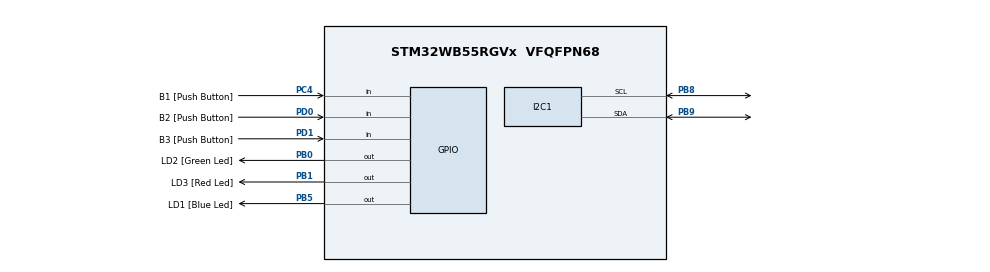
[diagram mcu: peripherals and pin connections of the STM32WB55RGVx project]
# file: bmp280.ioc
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I2C1.Timing=0x00B07CB4
Mcu.Family=STM32WB
Mcu.Name=STM32WB55RGVx
Mcu.Package=VFQFPN68
NUCLEO-WB55RG.VCP=false
NVIC.PriorityGroup=NVIC_PRIORITYGROUP_4
OSC_IN.GPIO_Label=RCC_OSC_IN
OSC_IN.Signal=RCC_OSC_IN
OSC_OUT.GPIO_Label=RCC_OSC_OUT
OSC_OUT.Signal=RCC_OSC_OUT
PA11.GPIO_Label=USB_DM
PA11.Signal=USB_DM
PA12.GPIO_Label=USB_DP
PA12.Signal=USB_DP
PA13.GPIO_Label=JTMS
PA13.Signal=SYS_JTMS-SWDIO
PA14.GPIO_Label=JTCK
PA14.Signal=SYS_JTCK-SWCLK
PB0.GPIO_Label=LD2 [Green Led]
PB0.GPIO_PuPd=GPIO_NOPULL
PB0.Signal=GPIO_Output
PB1.GPIO_Label=LD3 [Red Led]
PB1.Signal=GPIO_Output
PB3.GPIO_Label=JTDO
PB3.Signal=SYS_JTDO-SWO
PB5.GPIO_Label=LD1 [Blue Led]
PB5.Signal=GPIO_Output
PB8.Mode=I2C
PB8.Signal=I2C1_SCL
PB9.Mode=I2C
PB9.Signal=I2C1_SDA
PC13.GPIO_Label=SYS_WKUP2
PC13.Signal=SYS_WKUP2
PC14-OSC32_IN.GPIO_Label=RCC_OSC32_IN
PC14-OSC32_IN.Signal=RCC_OSC32_IN
PC15-OSC32_OUT.GPIO_Label=RCC_OSC32_OUT
PC15-OSC32_OUT.Signal=RCC_OSC32_OUT
PC4.GPIO_Label=B1 [Push Button]
PC4.Signal=GPIO_Input
PD0.GPIO_Label=B2 [Push Button]
PD0.Signal=GPIO_Input
PD1.GPIO_Label=B3 [Push Button]
PD1.Signal=GPIO_Input
ProjectManager.HeapSize=0x200
ProjectManager.StackSize=0x400
ProjectManager.TargetToolchain=STM32CubeIDE
RCC.ADCFreq_Value=128000000
RCC.AHBFreq_Value=32000000
RCC.APB1Freq_Value=32000000
RCC.APB1TimFreq_Value=32000000
RCC.APB2Freq_Value=32000000
RCC.APB2TimFreq_Value=32000000
RCC.APB3Freq_Value=16000000
RCC.CortexFreq_Value=32000000
RCC.HCLKFreq_Value=32000000
RCC.HSE_VALUE=32000000
RCC.HSI48_VALUE=48000000
RCC.HSI_VALUE=16000000
RCC.LSE_VALUE=32768
RCC.MSIClockRange=RCC_MSIRANGE_10
RCC.SMPSCLockSelection=RCC_SMPSCLKSOURCE_HSI
RCC.SMPSCLockSelectionVirtual=RCC_SMPSCLKSOURCE_HSI
RCC.SMPSCLockSelectionVirtualVirtual=RCC_SMPSCLKSOURCE_HSI
RCC.SMPSDivider=1
RCC.SYSCLKFreq_VALUE=32000000
RCC.USBFreq_Value=128000000
RCC.VCOOutputFreq_Value=256000000
VP_MEMORYMAP_VS_MEMORYMAP.Mode=CurAppReg
VP_NUCLEO-WB55RG_VS_BSP_COMMON.Mode=COMMON
board=NUCLEO-WB55RG

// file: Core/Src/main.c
/* USER CODE BEGIN Header */
/**
  ******************************************************************************
  * @file           : main.c
  * @brief          : Main program body
  ******************************************************************************
  * @attention
  *
  * Copyright (c) 2025 STMicroelectronics.
  * All rights reserved.
  *
  * This software is licensed under terms that can be found in the LICENSE file
  * in the root directory of this software component.
  * If no LICENSE file comes with this software, it is provided AS-IS.
  *
  ******************************************************************************
  */
/* USER CODE END Header */
#include "main.h"

/* USER CODE BEGIN PD */
#define  DEVICE_ADDRESS_L (0x76 << 1)
#define  DEVICE_ADDRESS_H (0x76 << 1)

#define temp_xlsb 0xFC
#define temp_lsb 0xFB
#define temp_msb 0xFA

#define press_xslb 0xF9
#define press_lsb 0xF8
#define press_msb 0xF7

#define config 0xF5
#define ctrl_meas 0xF4

#define status 0xF3
#define reset 0xE0
#define id 0xD0

#define cal25 0xA1
#define cal24 0xA0
#define cal23 0x9F
#define cal22 0x9E
#define cal21 0x9D
#define cal20 0x9C
#define cal19 0x9B
#define cal18 0x9A
#define cal17 0x99
#define cal16 0x98
#define cal15 0x97
#define cal14 0x96
#define cal13 0x95
#define cal12 0x94
#define cal11 0x93
#define cal10 0x92
#define cal09 0x91
#define cal08 0x90
#define cal07 0x8F
#define cal06 0x8E
#define cal05 0x8D
#define cal04 0x8C
#define cal03 0x8B
#define cal02 0x8A
#define cal01 0x89
#define cal00 0x88
/* USER CODE END PD */

I2C_HandleTypeDef hi2c1;

void SystemClock_Config(void);
void PeriphCommonClock_Config(void);
static void MX_GPIO_Init(void);
static void MX_I2C1_Init(void);

int main(void)
{

  /* MCU Configuration--------------------------------------------------------*/

  /* Reset of all peripherals, Initializes the Flash interface and the Systick. */
  HAL_Init();

  /* Configure the system clock */
  SystemClock_Config();

  /* Configure the peripherals common clocks */
  PeriphCommonClock_Config();

  /* Initialize all configured peripherals */
  MX_GPIO_Init();
  MX_I2C1_Init();

  /* Infinite loop */
  /* USER CODE BEGIN WHILE */
  uint8_t chipID = 0;

  //HAL_I2C_Mem_Read(&hi2c1, DEVICE_ADDRESS_L, id, 1, &chipID, 1, 1000);
  uint8_t BMP280_Config[2]={0xB3,0xA0};
  //I2C_Write_Register(DEVICE_ADDRESS_L, 0xF5, 0b10010000);
  HAL_I2C_Mem_Write(&hi2c1, DEVICE_ADDRESS_L,ctrl_meas,1,BMP280_Config,2,0x10000);
  //I2C_Write_Register(DEVICE_ADDRESS_L, 0xF4, 0b01010111);
  //HAL_I2C_Master_Transmit(&hi2c1, DEVICE_ADDRESS_L,config , 3, 500);
  //status=HAL_I2C_Mem_Read(&hi2c1,DEVICE_ADDRESS_L,ctrl_meas,1,BMP280_Config,2,0x10000);

  uint8_t data[2]  = {0,0};
  while (1)
  {

    /* USER CODE END WHILE */

    /* USER CODE BEGIN 3 */
	HAL_Delay(50);
	//HAL_I2C_Mem_Read(&hi2c1, BMP280_Address, 0xF7, 1, &BMP280_Data[0], 7, 500);
	//HAL_I2C_Master_Transmit(&hi2c1, DEVICE_ADDRESS_L,temp_msb , 1, 500);
	unsigned char data_address = 0xFA;
	HAL_I2C_Master_Transmit(&hi2c1, DEVICE_ADDRESS_L,&data_address , 1, 500);
	//HAL_I2C_Master_Receive_IT(&hi2c1, DEVICE_ADDRESS_L, data, 2); // with interrupt
	HAL_I2C_Master_Receive(&hi2c1, DEVICE_ADDRESS_L|0x01, data, 2,500);
  }
  /* USER CODE END 3 */
}

void SystemClock_Config(void)
{
  RCC_OscInitTypeDef RCC_OscInitStruct = {0};
  RCC_ClkInitTypeDef RCC_ClkInitStruct = {0};

  /** Configure the main internal regulator output voltage
  */
  __HAL_PWR_VOLTAGESCALING_CONFIG(PWR_REGULATOR_VOLTAGE_SCALE1);

  /** Initializes the RCC Oscillators according to the specified parameters
  * in the RCC_OscInitTypeDef structure.
  */
  RCC_OscInitStruct.OscillatorType = RCC_OSCILLATORTYPE_HSI|RCC_OSCILLATORTYPE_MSI;
  RCC_OscInitStruct.HSIState = RCC_HSI_ON;
  RCC_OscInitStruct.MSIState = RCC_MSI_ON;
  RCC_OscInitStruct.HSICalibrationValue = RCC_HSICALIBRATION_DEFAULT;
  RCC_OscInitStruct.MSICalibrationValue = RCC_MSICALIBRATION_DEFAULT;
  RCC_OscInitStruct.MSIClockRange = RCC_MSIRANGE_10;
  RCC_OscInitStruct.PLL.PLLState = RCC_PLL_NONE;
  if (HAL_RCC_OscConfig(&RCC_OscInitStruct) != HAL_OK)
  {
    Error_Handler();
  }

  /** Configure the SYSCLKSource, HCLK, PCLK1 and PCLK2 clocks dividers
  */
  RCC_ClkInitStruct.ClockType = RCC_CLOCKTYPE_HCLK4|RCC_CLOCKTYPE_HCLK2
                              |RCC_CLOCKTYPE_HCLK|RCC_CLOCKTYPE_SYSCLK
                              |RCC_CLOCKTYPE_PCLK1|RCC_CLOCKTYPE_PCLK2;
  RCC_ClkInitStruct.SYSCLKSource = RCC_SYSCLKSOURCE_MSI;
  RCC_ClkInitStruct.AHBCLKDivider = RCC_SYSCLK_DIV1;
  RCC_ClkInitStruct.APB1CLKDivider = RCC_HCLK_DIV1;
  RCC_ClkInitStruct.APB2CLKDivider = RCC_HCLK_DIV1;
  RCC_ClkInitStruct.AHBCLK2Divider = RCC_SYSCLK_DIV1;
  RCC_ClkInitStruct.AHBCLK4Divider = RCC_SYSCLK_DIV1;

  if (HAL_RCC_ClockConfig(&RCC_ClkInitStruct, FLASH_LATENCY_1) != HAL_OK)
  {
    Error_Handler();
  }
}

void PeriphCommonClock_Config(void)
{
  RCC_PeriphCLKInitTypeDef PeriphClkInitStruct = {0};

  /** Initializes the peripherals clock
  */
  PeriphClkInitStruct.PeriphClockSelection = RCC_PERIPHCLK_SMPS;
  PeriphClkInitStruct.SmpsClockSelection = RCC_SMPSCLKSOURCE_HSI;
  PeriphClkInitStruct.SmpsDivSelection = RCC_SMPSCLKDIV_RANGE0;

  if (HAL_RCCEx_PeriphCLKConfig(&PeriphClkInitStruct) != HAL_OK)
  {
    Error_Handler();
  }
}

static void MX_I2C1_Init(void)
{

  hi2c1.Instance = I2C1;
  hi2c1.Init.Timing = 0x00B07CB4;
  hi2c1.Init.OwnAddress1 = 0;
  hi2c1.Init.AddressingMode = I2C_ADDRESSINGMODE_7BIT;
  hi2c1.Init.DualAddressMode = I2C_DUALADDRESS_DISABLE;
  hi2c1.Init.OwnAddress2 = 0;
  hi2c1.Init.OwnAddress2Masks = I2C_OA2_NOMASK;
  hi2c1.Init.GeneralCallMode = I2C_GENERALCALL_DISABLE;
  hi2c1.Init.NoStretchMode = I2C_NOSTRETCH_DISABLE;
  if (HAL_I2C_Init(&hi2c1) != HAL_OK)
  {
    Error_Handler();
  }

  /** Configure Analogue filter
  */
  if (HAL_I2CEx_ConfigAnalogFilter(&hi2c1, I2C_ANALOGFILTER_ENABLE) != HAL_OK)
  {
    Error_Handler();
  }

  /** Configure Digital filter
  */
  if (HAL_I2CEx_ConfigDigitalFilter(&hi2c1, 0) != HAL_OK)
  {
    Error_Handler();
  }

}

static void MX_GPIO_Init(void)
{
  GPIO_InitTypeDef GPIO_InitStruct = {0};

  /* GPIO Ports Clock Enable */
  __HAL_RCC_GPIOC_CLK_ENABLE();
  __HAL_RCC_GPIOB_CLK_ENABLE();
  __HAL_RCC_GPIOA_CLK_ENABLE();
  __HAL_RCC_GPIOD_CLK_ENABLE();

  /*Configure GPIO pin Output Level */
  HAL_GPIO_WritePin(GPIOB, LD2_Pin|LD3_Pin|LD1_Pin, GPIO_PIN_RESET);

  /*Configure GPIO pin : B1_Pin */
  GPIO_InitStruct.Pin = B1_Pin;
  GPIO_InitStruct.Mode = GPIO_MODE_INPUT;
  GPIO_InitStruct.Pull = GPIO_NOPULL;
  HAL_GPIO_Init(B1_GPIO_Port, &GPIO_InitStruct);

  /*Configure GPIO pins : LD2_Pin LD3_Pin LD1_Pin */
  GPIO_InitStruct.Pin = LD2_Pin|LD3_Pin|LD1_Pin;
  GPIO_InitStruct.Mode = GPIO_MODE_OUTPUT_PP;
  GPIO_InitStruct.Pull = GPIO_NOPULL;
  GPIO_InitStruct.Speed = GPIO_SPEED_FREQ_LOW;
  HAL_GPIO_Init(GPIOB, &GPIO_InitStruct);

  /*Configure GPIO pins : USB_DM_Pin USB_DP_Pin */
  GPIO_InitStruct.Pin = USB_DM_Pin|USB_DP_Pin;
  GPIO_InitStruct.Mode = GPIO_MODE_AF_PP;
  GPIO_InitStruct.Pull = GPIO_NOPULL;
  GPIO_InitStruct.Speed = GPIO_SPEED_FREQ_LOW;
  GPIO_InitStruct.Alternate = GPIO_AF10_USB;
  HAL_GPIO_Init(GPIOA, &GPIO_InitStruct);

  /*Configure GPIO pins : B2_Pin B3_Pin */
  GPIO_InitStruct.Pin = B2_Pin|B3_Pin;
  GPIO_InitStruct.Mode = GPIO_MODE_INPUT;
  GPIO_InitStruct.Pull = GPIO_NOPULL;
  HAL_GPIO_Init(GPIOD, &GPIO_InitStruct);

}

void Error_Handler(void)
{
  __disable_irq();
  while (1)
  {
  }
}
